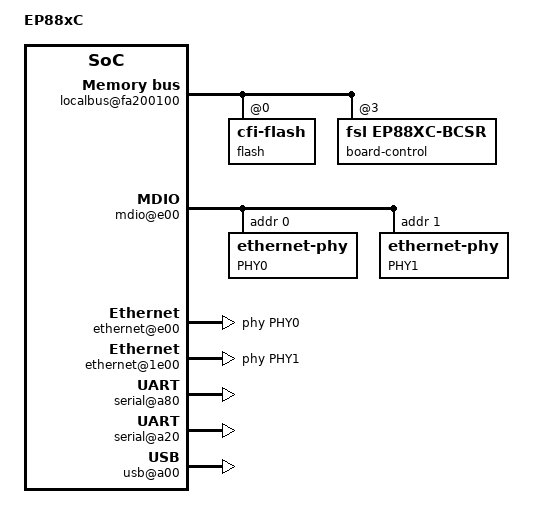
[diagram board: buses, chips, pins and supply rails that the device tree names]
/*
 * EP88xC Device Tree Source
 *
 * Copyright 2006 MontaVista Software, Inc.
 * Copyright 2007 Freescale Semiconductor, Inc.
 *
 * This program is free software; you can redistribute  it and/or modify it
 * under  the terms of  the GNU General  Public License as published by the
 * Free Software Foundation;  either version 2 of the  License, or (at your
 * option) any later version.
 */


/ {
	model = "EP88xC";
	compatible = "fsl,ep88xc";
	#address-cells = <1>;
	#size-cells = <1>;

	cpus {
		#address-cells = <1>;
		#size-cells = <0>;

		PowerPC,885@0 {
			device_type = "cpu";
			reg = <0>;
			d-cache-line-size = <d#16>;
			i-cache-line-size = <d#16>;
			d-cache-size = <d#8192>;
			i-cache-size = <d#8192>;
			timebase-frequency = <0>;
			bus-frequency = <0>;
			clock-frequency = <0>;
			interrupts = <f 2>;	// decrementer interrupt
			interrupt-parent = <&PIC>;
		};
	};

	memory {
		device_type = "memory";
		reg = <0 0>;
	};

	localbus@fa200100 {
		compatible = "fsl,mpc885-localbus", "fsl,pq1-localbus";
		#address-cells = <2>;
		#size-cells = <1>;
		reg = <fa200100 40>;

		ranges = <
			0 0 fc000000 04000000
			3 0 fa000000 01000000
		>;

		flash@0,2000000 {
			compatible = "cfi-flash";
			reg = <0 2000000 2000000>;
			bank-width = <4>;
			device-width = <2>;
		};

		board-control@3,400000 {
			reg = <3 400000 10>;
			compatible = "fsl,ep88xc-bcsr";
		};
	};

	soc@fa200000 {
		compatible = "fsl,mpc885", "fsl,pq1-soc";
		#address-cells = <1>;
		#size-cells = <1>;
		device_type = "soc";
		ranges = <0 fa200000 00004000>;
		bus-frequency = <0>;

		// Temporary -- will go away once kernel uses ranges for get_immrbase().
		reg = <fa200000 4000>;

		mdio@e00 {
			compatible = "fsl,mpc885-fec-mdio", "fsl,pq1-fec-mdio";
			reg = <e00 188>;
			#address-cells = <1>;
			#size-cells = <0>;

			PHY0: ethernet-phy@0 {
				reg = <0>;
				device_type = "ethernet-phy";
			};

			PHY1: ethernet-phy@1 {
				reg = <1>;
				device_type = "ethernet-phy";
			};
		};

		ethernet@e00 {
			device_type = "network";
			compatible = "fsl,mpc885-fec-enet",
			             "fsl,pq1-fec-enet";
			reg = <e00 188>;
			local-mac-address = [ 00 00 00 00 00 00 ];
			interrupts = <3 1>;
			interrupt-parent = <&PIC>;
			phy-handle = <&PHY0>;
			linux,network-index = <0>;
		};

		ethernet@1e00 {
			device_type = "network";
			compatible = "fsl,mpc885-fec-enet",
			             "fsl,pq1-fec-enet";
			reg = <1e00 188>;
			local-mac-address = [ 00 00 00 00 00 00 ];
			interrupts = <7 1>;
			interrupt-parent = <&PIC>;
			phy-handle = <&PHY1>;
			linux,network-index = <1>;
		};

		PIC: interrupt-controller@0 {
			interrupt-controller;
			#interrupt-cells = <2>;
			reg = <0 24>;
			compatible = "fsl,mpc885-pic", "fsl,pq1-pic";
		};

		pcmcia@80 {
			#address-cells = <3>;
			#interrupt-cells = <1>;
			#size-cells = <2>;
			compatible = "fsl,pq-pcmcia";
			device_type = "pcmcia";
			reg = <80 80>;
			interrupt-parent = <&PIC>;
			interrupts = <d 1>;
		};

		cpm@9c0 {
			#address-cells = <1>;
			#size-cells = <1>;
			compatible = "fsl,mpc885-cpm", "fsl,cpm1";
			command-proc = <9c0>;
			interrupts = <0>;	// cpm error interrupt
			interrupt-parent = <&CPM_PIC>;
			reg = <9c0 40>;
			ranges;

			muram@2000 {
				#address-cells = <1>;
				#size-cells = <1>;
				ranges = <0 2000 2000>;

				data@0 {
					compatible = "fsl,cpm-muram-data";
					reg = <0 1c00>;
				};
			};

			brg@9f0 {
				compatible = "fsl,mpc885-brg",
				             "fsl,cpm1-brg",
				             "fsl,cpm-brg";
				reg = <9f0 10>;
			};

			CPM_PIC: interrupt-controller@930 {
				interrupt-controller;
				#interrupt-cells = <1>;
				interrupts = <5 2 0 2>;
				interrupt-parent = <&PIC>;
				reg = <930 20>;
				compatible = "fsl,mpc885-cpm-pic",
				             "fsl,cpm1-pic";
			};

			// MON-1
			serial@a80 {
				device_type = "serial";
				compatible = "fsl,mpc885-smc-uart",
				             "fsl,cpm1-smc-uart";
				reg = <a80 10 3e80 40>;
				interrupts = <4>;
				interrupt-parent = <&CPM_PIC>;
				fsl,cpm-brg = <1>;
				fsl,cpm-command = <0090>;
				linux,planetcore-label = "SMC1";
			};

			// SER-1
			serial@a20 {
				device_type = "serial";
				compatible = "fsl,mpc885-scc-uart",
				             "fsl,cpm1-scc-uart";
				reg = <a20 20 3d00 80>;
				interrupts = <1d>;
				interrupt-parent = <&CPM_PIC>;
				fsl,cpm-brg = <2>;
				fsl,cpm-command = <0040>;
				linux,planetcore-label = "SCC2";
			};

			usb@a00 {
				#address-cells = <1>;
				#size-cells = <0>;
				compatible = "fsl,mpc885-usb",
				             "fsl,cpm1-usb";
				reg = <a00 18 1c00 80>;
				interrupt-parent = <&CPM_PIC>;
				interrupts = <1e>;
				fsl,cpm-command = <0000>;
			};
		};
	};
};
